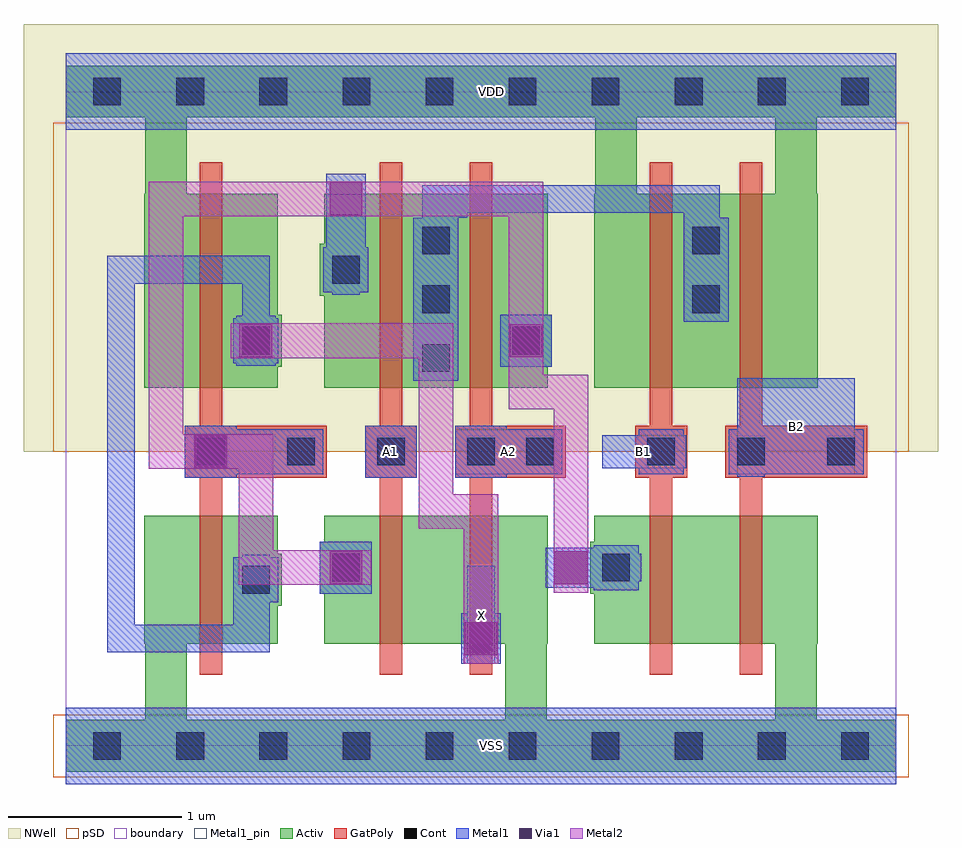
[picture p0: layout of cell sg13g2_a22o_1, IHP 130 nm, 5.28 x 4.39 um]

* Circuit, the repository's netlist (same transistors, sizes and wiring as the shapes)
.SUBCKT sg13g2_a22o_1 X A1 A2 B1 B2 VDD VSS
*.PININFO A1:I A2:I B1:I B2:I X:O VDD:B VSS:B
MN0 net1 A1 net2 VSS sg13_lv_nmos w=740.00n l=130.00n ng=1
MN1 net2 A2 VSS VSS sg13_lv_nmos w=740.00n l=130.00n ng=1
MN2 net1 B1 net3 VSS sg13_lv_nmos w=740.00n l=130.00n ng=1
MN3 net3 B2 VSS VSS sg13_lv_nmos w=740.00n l=130.00n ng=1
MP0 net1 A1 net4 VDD sg13_lv_pmos w=1.12u l=130.00n ng=1
MP1 net1 A2 net4 VDD sg13_lv_pmos w=1.12u l=130.00n ng=1
MP2 net4 B1 VDD VDD sg13_lv_pmos w=1.12u l=130.00n ng=1
MP3 net4 B2 VDD VDD sg13_lv_pmos w=1.12u l=130.00n ng=1
MN4 X net1 VSS VSS sg13_lv_nmos w=740.00n l=130.00n ng=1
MP4 X net1 VDD VDD sg13_lv_pmos w=1.12u l=130.00n ng=1
.ENDS

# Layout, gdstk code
import gdstk
lib = gdstk.Library(unit=1e-6, precision=1e-09)
def R(c, l, rs):  # rectangles x0, y0, x1, y1
    for r in rs: c.add(gdstk.rectangle(r[:2], r[2:], *l))
def A(c, l, x, y, w, h, nx, ny, dx, dy):  # array of equal rectangles
    R(c, l, [(x+i*dx, y+j*dy, x+i*dx+w, y+j*dy+h) for i in range(nx) for j in range(ny)])
def P(c, l, *ps):  # polygons
    for p in ps: c.add(gdstk.Polygon(p, *l))
Activ = (1, 0)
GatPoly = (5, 0)
Cont = (6, 0)
Metal1 = (8, 0)
Metal1_pin = (8, 2)
Metal2 = (10, 0)
pSD = (14, 0)
Via1 = (19, 0)
NWell = (31, 0)
boundary = (189, 4)

sg13g2_a22o_1 = lib.new_cell('sg13g2_a22o_1')
P(sg13g2_a22o_1, Activ, [(0,-0.15),(4.8,-0.15),(4.8,0.15),(4.34,0.15),(4.34,0.59),(4.345,0.59),(4.345,1.33),(3.055,1.33),(3.055,1.18),(3.03,1.18),(3.03,0.88),(3.055,0.88),(3.055,0.59),(4.1,0.59),(4.1,0.15),(2.78,0.15),(2.78,0.59),(2.785,0.59),(2.785,1.33),(1.495,1.33),(1.495,1.18),(1.47,1.18),(1.47,0.88),(1.495,0.88),(1.495,0.59),(2.54,0.59),(2.54,0.15),(0.7,0.15),(0.7,0.59),(1.225,0.59),(1.225,0.81),(1.25,0.81),(1.25,1.11),(1.225,1.11),(1.225,1.33),(0.455,1.33),(0.455,0.59),(0.46,0.59),(0.46,0.15),(0,0.15)],
  [(3.3,3.63),(3.3,3.93),(0,3.93),(0,3.63),(0.46,3.63),(0.46,3.19),(0.455,3.19),(0.455,2.07),(1.225,2.07),(1.225,2.19),(1.25,2.19),(1.25,2.49),(1.225,2.49),(1.225,3.19),(0.7,3.19),(0.7,3.63),(3.06,3.63),(3.06,3.19),(3.055,3.19),(3.055,2.07),(3.3,2.07),(3.3,3.63),(4.1,3.63),(4.1,3.19),(3.3,3.19),(3.3,2.07),(4.345,2.07),(4.345,3.19),(4.34,3.19),(4.34,3.63),(4.8,3.63),(4.8,3.93),(3.3,3.93)],
  [(1.47,2.6),(1.495,2.6),(1.495,2.07),(2.785,2.07),(2.785,2.19),(2.81,2.19),(2.81,2.49),(2.785,2.49),(2.785,3.19),(1.495,3.19),(1.495,2.9),(1.47,2.9)])
P(sg13g2_a22o_1, GatPoly, [(0.69,1.55),(0.775,1.55),(0.775,0.41),(0.905,0.41),(0.905,1.55),(1.51,1.55),(1.51,1.85),(0.905,1.85),(0.905,3.37),(0.775,3.37),(0.775,1.85),(0.69,1.85)],
  [(1.73,1.55),(1.815,1.55),(1.815,0.41),(1.945,0.41),(1.945,1.55),(2.03,1.55),(2.03,1.85),(1.945,1.85),(1.945,3.37),(1.815,3.37),(1.815,1.85),(1.73,1.85)],
  [(2.25,1.55),(2.335,1.55),(2.335,0.41),(2.465,0.41),(2.465,1.55),(2.89,1.55),(2.89,1.85),(2.465,1.85),(2.465,3.37),(2.335,3.37),(2.335,1.85),(2.25,1.85)],
  [(3.29,1.55),(3.375,1.55),(3.375,0.41),(3.505,0.41),(3.505,1.55),(3.59,1.55),(3.59,1.85),(3.505,1.85),(3.505,3.37),(3.375,3.37),(3.375,1.85),(3.29,1.85)],
  [(3.81,1.55),(3.895,1.55),(3.895,0.41),(4.025,0.41),(4.025,1.55),(4.63,1.55),(4.63,1.85),(4.025,1.85),(4.025,3.37),(3.895,3.37),(3.895,1.85),(3.81,1.85)])
A(sg13g2_a22o_1, Cont, 0.16, -0.08, 0.16, 0.16, 10, 2, 0.48, 3.78)
A(sg13g2_a22o_1, Cont, 0.76, 1.62, 0.16, 0.16, 4, 1, 0.52, 0)
A(sg13g2_a22o_1, Cont, 3.36, 1.62, 0.16, 0.16, 3, 1, 0.52, 0)
A(sg13g2_a22o_1, Cont, 2.06, 2.16, 0.16, 0.16, 1, 3, 0, 0.34)
R(sg13g2_a22o_1, Cont, [(1.02,0.88,1.18,1.04), (1.54,0.95,1.7,1.11), (3.1,0.95,3.26,1.11), (2.66,1.62,2.82,1.78), (1.02,2.26,1.18,2.42), (2.58,2.26,2.74,2.42), (3.62,2.5,3.78,2.66), (1.54,2.67,1.7,2.83), (3.62,2.84,3.78,3)])
R(sg13g2_a22o_1, Metal1, [(0,-0.22,4.8,0.22), (1.47,0.88,1.77,1.18), (1.73,1.55,2.03,1.85), (2.51,2.19,2.81,2.49), (0,3.56,4.8,4)])
P(sg13g2_a22o_1, Metal1, [(0.24,0.54),(1.18,0.54),(1.18,0.83),(1.23,0.83),(1.23,1.09),(1.18,1.09),(1.18,1.105),(1.02,1.105),(1.02,1.09),(0.97,1.09),(0.97,0.7),(0.4,0.7),(0.4,2.67),(1.02,2.67),(1.02,2.485),(0.985,2.485),(0.985,2.47),(0.97,2.47),(0.97,2.21),(0.985,2.21),(0.985,2.195),(1.215,2.195),(1.215,2.21),(1.23,2.21),(1.23,2.47),(1.215,2.47),(1.215,2.485),(1.18,2.485),(1.18,2.83),(0.24,2.83)],
  [(0.69,1.55),(0.99,1.55),(0.99,1.57),(1.49,1.57),(1.49,1.83),(0.99,1.83),(0.99,1.85),(0.69,1.85)],
  [(1.49,2.62),(1.54,2.62),(1.54,2.605),(1.7,2.605),(1.7,2.62),(1.75,2.62),(1.75,2.88),(1.735,2.88),(1.735,3.305),(1.505,3.305),(1.505,2.88),(1.49,2.88)],
  [(2.01,2.11),(2.27,2.11),(2.27,3.05),(2.32,3.05),(2.32,3.08),(3.57,3.08),(3.57,2.45),(3.83,2.45),(3.83,3.05),(3.78,3.05),(3.78,3.24),(2.06,3.24),(2.06,3.05),(2.01,3.05)],
  [(2.25,1.55),(2.55,1.55),(2.55,1.57),(2.87,1.57),(2.87,1.83),(2.55,1.83),(2.55,1.85),(2.25,1.85)],
  [(2.285,0.475),(2.515,0.475),(2.515,0.765),(2.48,0.765),(2.48,1.04),(2.32,1.04),(2.32,0.765),(2.285,0.765)],
  [(2.775,0.915),(3.05,0.915),(3.05,0.9),(3.31,0.9),(3.31,0.95),(3.325,0.95),(3.325,1.11),(3.31,1.11),(3.31,1.16),(3.05,1.16),(3.05,1.145),(2.775,1.145)],
  [(3.1,1.605),(3.31,1.605),(3.31,1.57),(3.57,1.57),(3.57,1.605),(3.585,1.605),(3.585,1.795),(3.57,1.795),(3.57,1.83),(3.31,1.83),(3.31,1.795),(3.1,1.795)],
  [(3.83,1.57),(3.88,1.57),(3.88,1.555),(4.04,1.555),(4.04,1.57),(4.61,1.57),(4.61,1.83),(4.56,1.83),(4.56,2.125),(3.88,2.125),(3.88,1.83),(3.83,1.83)])
R(sg13g2_a22o_1, Metal1_pin, [(0,-0.22,4.8,0.22), (2.32,0.475,2.48,1.04), (1.73,1.55,2.03,1.85), (2.25,1.57,2.87,1.83), (3.88,1.57,4.56,2.125), (3.1,1.605,3.585,1.795), (0,3.56,4.8,4)])
P(sg13g2_a22o_1, Metal2, [(0.48,1.6),(1,1.6),(1,0.93),(1.765,0.93),(1.765,1.13),(1.2,1.13),(1.2,1.8),(0.68,1.8),(0.68,3.06),(2.56,3.06),(2.56,1.945),(2.82,1.945),(2.82,0.885),(3.02,0.885),(3.02,2.145),(2.76,2.145),(2.76,3.26),(0.48,3.26)],
  [(0.955,2.24),(2.04,2.24),(2.04,1.255),(2.3,1.255),(2.3,0.475),(2.5,0.475),(2.5,1.455),(2.24,1.455),(2.24,2.44),(0.955,2.44)])
R(sg13g2_a22o_1, pSD, [(-0.07,-0.18,4.87,0.18), (-0.07,1.7,4.87,3.6)])
R(sg13g2_a22o_1, Via1, [(2.305,0.525,2.495,0.715), (1.525,0.935,1.715,1.125), (2.825,0.935,3.015,1.125), (0.745,1.605,0.935,1.795), (1.005,2.245,1.195,2.435), (2.565,2.245,2.755,2.435), (1.525,3.065,1.715,3.255)])
R(sg13g2_a22o_1, NWell, [(-0.24,1.7,5.04,4.17)])
R(sg13g2_a22o_1, boundary, [(0,0,4.8,3.78)])
sg13g2_a22o_1.add(gdstk.Label('X', (2.4,0.755), layer=8, texttype=25))
sg13g2_a22o_1.add(gdstk.Label('A1', (1.88,1.7), layer=8, texttype=25))
sg13g2_a22o_1.add(gdstk.Label('A2', (2.56,1.7), layer=8, texttype=25))
sg13g2_a22o_1.add(gdstk.Label('B1', (3.34,1.7), layer=8, texttype=25))
sg13g2_a22o_1.add(gdstk.Label('B2', (4.22,1.845), layer=8, texttype=25))
sg13g2_a22o_1.add(gdstk.Label('VSS', (2.46,0), layer=8, texttype=25))
sg13g2_a22o_1.add(gdstk.Label('VDD', (2.46,3.78), layer=8, texttype=25))

lib.write_gds('sg13g2_a22o_1.gds')
